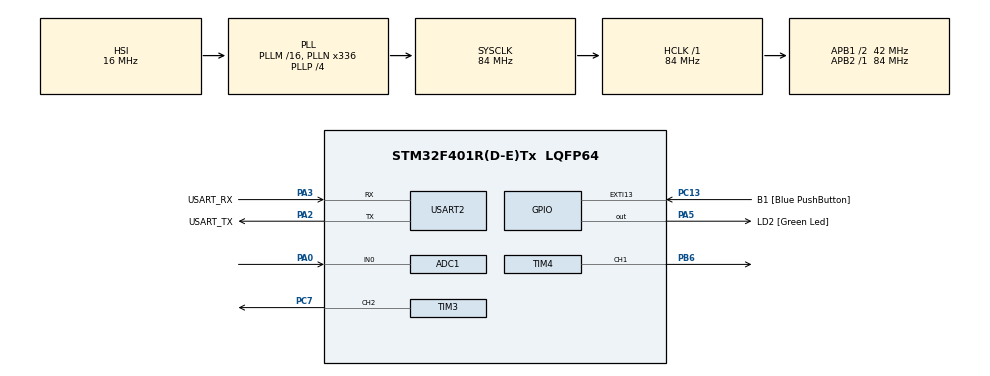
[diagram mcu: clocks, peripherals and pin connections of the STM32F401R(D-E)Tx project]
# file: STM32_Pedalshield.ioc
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ADC1.Channel-0\#ChannelRegularConversion=ADC_CHANNEL_0
ADC1.ExternalTrigConv=ADC_EXTERNALTRIGCONV_T3_TRGO
ADC1.NbrOfConversionFlag=1
ADC1.Rank-0\#ChannelRegularConversion=1
ADC1.SamplingTime-0\#ChannelRegularConversion=ADC_SAMPLETIME_15CYCLES
ADC1.master=1
Mcu.Family=STM32F4
Mcu.Name=STM32F401R(D-E)Tx
Mcu.Package=LQFP64
NVIC.ADC_IRQn=true\:0\:0\:false\:false\:true\:true\:true\:true
NVIC.PriorityGroup=NVIC_PRIORITYGROUP_4
PA0-WKUP.Signal=ADCx_IN0
PA13.GPIO_Label=TMS
PA13.Mode=Trace_Asynchronous_SW
PA13.Signal=SYS_JTMS-SWDIO
PA14.GPIO_Label=TCK
PA14.Mode=Trace_Asynchronous_SW
PA14.Signal=SYS_JTCK-SWCLK
PA2.GPIO_Label=USART_TX
PA2.GPIO_Mode=GPIO_MODE_AF_PP
PA2.GPIO_PuPd=GPIO_NOPULL
PA2.GPIO_Speed=GPIO_SPEED_FREQ_LOW
PA2.Mode=Asynchronous
PA2.Signal=USART2_TX
PA3.GPIO_Label=USART_RX
PA3.GPIO_Mode=GPIO_MODE_AF_PP
PA3.GPIO_PuPd=GPIO_NOPULL
PA3.GPIO_Speed=GPIO_SPEED_FREQ_LOW
PA3.Mode=Asynchronous
PA3.Signal=USART2_RX
PA5.GPIO_Label=LD2 [Green Led]
PA5.GPIO_Mode=GPIO_MODE_OUTPUT_PP
PA5.GPIO_PuPd=GPIO_NOPULL
PA5.GPIO_Speed=GPIO_SPEED_FREQ_LOW
PA5.Signal=GPIO_Output
PB3.GPIO_Label=SWO
PB3.Mode=Trace_Asynchronous_SW
PB3.Signal=SYS_JTDO-SWO
PB6.Signal=S_TIM4_CH1
PC13-ANTI_TAMP.GPIO_Label=B1 [Blue PushButton]
PC13-ANTI_TAMP.GPIO_ModeDefaultEXTI=GPIO_MODE_IT_FALLING
PC13-ANTI_TAMP.GPIO_PuPd=GPIO_NOPULL
PC13-ANTI_TAMP.Signal=GPXTI13
PC14-OSC32_IN.Mode=LSE-External-Oscillator
PC14-OSC32_IN.Signal=RCC_OSC32_IN
PC15-OSC32_OUT.Mode=LSE-External-Oscillator
PC15-OSC32_OUT.Signal=RCC_OSC32_OUT
PC7.Signal=S_TIM3_CH2
PH0\ -\ OSC_IN.Mode=HSE-External-Clock-Source
PH0\ -\ OSC_IN.Signal=RCC_OSC_IN
PH1\ -\ OSC_OUT.Mode=HSE-External-Clock-Source
PH1\ -\ OSC_OUT.Signal=RCC_OSC_OUT
ProjectManager.HeapSize=0x200
ProjectManager.StackSize=0x400
ProjectManager.TargetToolchain=STM32CubeIDE
RCC.48MHZClocksFreq_Value=48000000
RCC.AHBFreq_Value=84000000
RCC.APB1CLKDivider=RCC_HCLK_DIV2
RCC.APB1Freq_Value=42000000
RCC.APB1TimFreq_Value=84000000
RCC.APB2Freq_Value=84000000
RCC.APB2TimFreq_Value=84000000
RCC.CortexFreq_Value=84000000
RCC.HCLKFreq_Value=84000000
RCC.HSE_VALUE=8000000
RCC.HSI_VALUE=16000000
RCC.PLLN=336
RCC.PLLP=RCC_PLLP_DIV4
RCC.PLLQ=7
RCC.SYSCLKFreq_VALUE=84000000
RCC.SYSCLKSource=RCC_SYSCLKSOURCE_PLLCLK
RCC.VCOOutputFreq_Value=336000000
SH.ADCx_IN0.0=ADC1_IN0,IN0
SH.S_TIM3_CH2.0=TIM3_CH2,PWM Generation2 CH2
SH.S_TIM4_CH1.0=TIM4_CH1,PWM Generation1 CH1
TIM3.Channel-PWM\ Generation2\ CH2=TIM_CHANNEL_2
TIM3.Period=255
TIM3.Prescaler=9
TIM3.TIM_MasterOutputTrigger=TIM_TRGO_UPDATE
TIM3.TIM_MasterSlaveMode=TIM_MASTERSLAVEMODE_ENABLE
TIM4.Channel-PWM\ Generation1\ CH1=TIM_CHANNEL_1
TIM4.Period=255
TIM4.Prescaler=9
TIM4.TIM_MasterSlaveMode=TIM_MASTERSLAVEMODE_ENABLE
USART2.VirtualMode=VM_ASYNC
VP_TIM3_VS_ClockSourceINT.Mode=Internal
VP_TIM4_VS_ClockSourceITR.Mode=TriggerSource_ITR2
VP_TIM4_VS_ControllerModeTrigger.Mode=Trigger Mode
board=NUCLEO-F401RE

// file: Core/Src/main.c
/* USER CODE BEGIN Header */
/**
  ******************************************************************************
  * @file           : main.c
  * @brief          : Main program body
  ******************************************************************************
  * @attention
  *
  * Copyright (c) 2026 STMicroelectronics.
  * All rights reserved.
  *
  * This software is licensed under terms that can be found in the LICENSE file
  * in the root directory of this software component.
  * If no LICENSE file comes with this software, it is provided AS-IS.
  *
  ******************************************************************************
  */
/* USER CODE END Header */
#include "main.h"

/* USER CODE BEGIN Includes */
#include "circular_buffer.h"
#include "delay.h"
#include <stdio.h>

/* USER CODE END Includes */

ADC_HandleTypeDef hadc1;

TIM_HandleTypeDef htim3;
TIM_HandleTypeDef htim4;

UART_HandleTypeDef huart2;

void SystemClock_Config(void);
static void MX_GPIO_Init(void);
static void MX_ADC1_Init(void);
static void MX_TIM3_Init(void);
static void MX_TIM4_Init(void);
static void MX_USART2_UART_Init(void);

/* USER CODE BEGIN 0 */
#define ADC_MIDPOINT 3189u  // measured idle value for your hardware
struct DelayConfig delayConfig = {.Fs = 31000,.delay_samples = 0, .feedbackGain = 0.3f, .wetness = 0.5f, .midpoint = ADC_MIDPOINT};
volatile uint16_t adc_display_value = 0;
volatile uint8_t adc_ready = 0;

/* USER CODE END 0 */

int main(void)
{

  /* MCU Configuration--------------------------------------------------------*/

  /* Reset of all peripherals, Initializes the Flash interface and the Systick. */
  HAL_Init();

  /* Configure the system clock */
  SystemClock_Config();

  /* Initialize all configured peripherals */
  MX_GPIO_Init();
  MX_ADC1_Init();
  MX_TIM3_Init();
  MX_TIM4_Init();
  MX_USART2_UART_Init();
  /* USER CODE BEGIN 2 */
  HAL_TIM_PWM_Start(&htim4, TIM_CHANNEL_1);
  HAL_TIM_PWM_Start(&htim3, TIM_CHANNEL_2);
  HAL_ADC_Start_IT(&hadc1);

  // Effect related
  float delay_ms = 200.f;
  delayInit(&delayConfig, delay_ms);

  /* USER CODE END 2 */

  /* Infinite loop */
  while (1)
  {

    /* USER CODE BEGIN 3 */
	  HAL_GPIO_TogglePin(LD2_GPIO_Port, LD2_Pin);
	  HAL_Delay(500);

	  if (adc_ready)
	      {
	          adc_ready = 0;
	          char buf[32];
	          int len = snprintf(buf, sizeof(buf), "ADC: %u\r\n", adc_display_value);
	          HAL_UART_Transmit(&huart2, (uint8_t*)buf, len, HAL_MAX_DELAY);
	      }
  }
  /* USER CODE END 3 */
}

void SystemClock_Config(void)
{
  RCC_OscInitTypeDef RCC_OscInitStruct = {0};
  RCC_ClkInitTypeDef RCC_ClkInitStruct = {0};

  /** Configure the main internal regulator output voltage
  */
  __HAL_RCC_PWR_CLK_ENABLE();
  __HAL_PWR_VOLTAGESCALING_CONFIG(PWR_REGULATOR_VOLTAGE_SCALE2);

  /** Initializes the RCC Oscillators according to the specified parameters
  * in the RCC_OscInitTypeDef structure.
  */
  RCC_OscInitStruct.OscillatorType = RCC_OSCILLATORTYPE_HSI;
  RCC_OscInitStruct.HSIState = RCC_HSI_ON;
  RCC_OscInitStruct.HSICalibrationValue = RCC_HSICALIBRATION_DEFAULT;
  RCC_OscInitStruct.PLL.PLLState = RCC_PLL_ON;
  RCC_OscInitStruct.PLL.PLLSource = RCC_PLLSOURCE_HSI;
  RCC_OscInitStruct.PLL.PLLM = 16;
  RCC_OscInitStruct.PLL.PLLN = 336;
  RCC_OscInitStruct.PLL.PLLP = RCC_PLLP_DIV4;
  RCC_OscInitStruct.PLL.PLLQ = 7;
  if (HAL_RCC_OscConfig(&RCC_OscInitStruct) != HAL_OK)
  {
    Error_Handler();
  }

  /** Initializes the CPU, AHB and APB buses clocks
  */
  RCC_ClkInitStruct.ClockType = RCC_CLOCKTYPE_HCLK|RCC_CLOCKTYPE_SYSCLK
                              |RCC_CLOCKTYPE_PCLK1|RCC_CLOCKTYPE_PCLK2;
  RCC_ClkInitStruct.SYSCLKSource = RCC_SYSCLKSOURCE_PLLCLK;
  RCC_ClkInitStruct.AHBCLKDivider = RCC_SYSCLK_DIV1;
  RCC_ClkInitStruct.APB1CLKDivider = RCC_HCLK_DIV2;
  RCC_ClkInitStruct.APB2CLKDivider = RCC_HCLK_DIV1;

  if (HAL_RCC_ClockConfig(&RCC_ClkInitStruct, FLASH_LATENCY_2) != HAL_OK)
  {
    Error_Handler();
  }
}

static void MX_ADC1_Init(void)
{

  ADC_ChannelConfTypeDef sConfig = {0};

  /** Configure the global features of the ADC (Clock, Resolution, Data Alignment and number of conversion)
  */
  hadc1.Instance = ADC1;
  hadc1.Init.ClockPrescaler = ADC_CLOCK_SYNC_PCLK_DIV4;
  hadc1.Init.Resolution = ADC_RESOLUTION_12B;
  hadc1.Init.ScanConvMode = DISABLE;
  hadc1.Init.ContinuousConvMode = DISABLE;
  hadc1.Init.DiscontinuousConvMode = DISABLE;
  hadc1.Init.ExternalTrigConvEdge = ADC_EXTERNALTRIGCONVEDGE_RISING;
  hadc1.Init.ExternalTrigConv = ADC_EXTERNALTRIGCONV_T3_TRGO;
  hadc1.Init.DataAlign = ADC_DATAALIGN_RIGHT;
  hadc1.Init.NbrOfConversion = 1;
  hadc1.Init.DMAContinuousRequests = DISABLE;
  hadc1.Init.EOCSelection = ADC_EOC_SINGLE_CONV;
  if (HAL_ADC_Init(&hadc1) != HAL_OK)
  {
    Error_Handler();
  }

  /** Configure for the selected ADC regular channel its corresponding rank in the sequencer and its sample time.
  */
  sConfig.Channel = ADC_CHANNEL_0;
  sConfig.Rank = 1;
  sConfig.SamplingTime = ADC_SAMPLETIME_15CYCLES;
  if (HAL_ADC_ConfigChannel(&hadc1, &sConfig) != HAL_OK)
  {
    Error_Handler();
  }

}

static void MX_TIM3_Init(void)
{

  TIM_ClockConfigTypeDef sClockSourceConfig = {0};
  TIM_MasterConfigTypeDef sMasterConfig = {0};
  TIM_OC_InitTypeDef sConfigOC = {0};

  htim3.Instance = TIM3;
  htim3.Init.Prescaler = 9;
  htim3.Init.CounterMode = TIM_COUNTERMODE_UP;
  htim3.Init.Period = 255;
  htim3.Init.ClockDivision = TIM_CLOCKDIVISION_DIV1;
  htim3.Init.AutoReloadPreload = TIM_AUTORELOAD_PRELOAD_DISABLE;
  if (HAL_TIM_Base_Init(&htim3) != HAL_OK)
  {
    Error_Handler();
  }
  sClockSourceConfig.ClockSource = TIM_CLOCKSOURCE_INTERNAL;
  if (HAL_TIM_ConfigClockSource(&htim3, &sClockSourceConfig) != HAL_OK)
  {
    Error_Handler();
  }
  if (HAL_TIM_PWM_Init(&htim3) != HAL_OK)
  {
    Error_Handler();
  }
  sMasterConfig.MasterOutputTrigger = TIM_TRGO_UPDATE;
  sMasterConfig.MasterSlaveMode = TIM_MASTERSLAVEMODE_ENABLE;
  if (HAL_TIMEx_MasterConfigSynchronization(&htim3, &sMasterConfig) != HAL_OK)
  {
    Error_Handler();
  }
  sConfigOC.OCMode = TIM_OCMODE_PWM1;
  sConfigOC.Pulse = 0;
  sConfigOC.OCPolarity = TIM_OCPOLARITY_HIGH;
  sConfigOC.OCFastMode = TIM_OCFAST_DISABLE;
  if (HAL_TIM_PWM_ConfigChannel(&htim3, &sConfigOC, TIM_CHANNEL_2) != HAL_OK)
  {
    Error_Handler();
  }
  HAL_TIM_MspPostInit(&htim3);

}

static void MX_TIM4_Init(void)
{

  TIM_SlaveConfigTypeDef sSlaveConfig = {0};
  TIM_MasterConfigTypeDef sMasterConfig = {0};
  TIM_OC_InitTypeDef sConfigOC = {0};

  htim4.Instance = TIM4;
  htim4.Init.Prescaler = 9;
  htim4.Init.CounterMode = TIM_COUNTERMODE_UP;
  htim4.Init.Period = 255;
  htim4.Init.ClockDivision = TIM_CLOCKDIVISION_DIV1;
  htim4.Init.AutoReloadPreload = TIM_AUTORELOAD_PRELOAD_DISABLE;
  if (HAL_TIM_Base_Init(&htim4) != HAL_OK)
  {
    Error_Handler();
  }
  if (HAL_TIM_PWM_Init(&htim4) != HAL_OK)
  {
    Error_Handler();
  }
  sSlaveConfig.SlaveMode = TIM_SLAVEMODE_TRIGGER;
  sSlaveConfig.InputTrigger = TIM_TS_ITR2;
  if (HAL_TIM_SlaveConfigSynchro(&htim4, &sSlaveConfig) != HAL_OK)
  {
    Error_Handler();
  }
  sMasterConfig.MasterOutputTrigger = TIM_TRGO_RESET;
  sMasterConfig.MasterSlaveMode = TIM_MASTERSLAVEMODE_ENABLE;
  if (HAL_TIMEx_MasterConfigSynchronization(&htim4, &sMasterConfig) != HAL_OK)
  {
    Error_Handler();
  }
  sConfigOC.OCMode = TIM_OCMODE_PWM1;
  sConfigOC.Pulse = 0;
  sConfigOC.OCPolarity = TIM_OCPOLARITY_HIGH;
  sConfigOC.OCFastMode = TIM_OCFAST_DISABLE;
  if (HAL_TIM_PWM_ConfigChannel(&htim4, &sConfigOC, TIM_CHANNEL_1) != HAL_OK)
  {
    Error_Handler();
  }
  HAL_TIM_MspPostInit(&htim4);

}

static void MX_USART2_UART_Init(void)
{

  huart2.Instance = USART2;
  huart2.Init.BaudRate = 115200;
  huart2.Init.WordLength = UART_WORDLENGTH_8B;
  huart2.Init.StopBits = UART_STOPBITS_1;
  huart2.Init.Parity = UART_PARITY_NONE;
  huart2.Init.Mode = UART_MODE_TX_RX;
  huart2.Init.HwFlowCtl = UART_HWCONTROL_NONE;
  huart2.Init.OverSampling = UART_OVERSAMPLING_16;
  if (HAL_UART_Init(&huart2) != HAL_OK)
  {
    Error_Handler();
  }

}

static void MX_GPIO_Init(void)
{
  GPIO_InitTypeDef GPIO_InitStruct = {0};

  /* GPIO Ports Clock Enable */
  __HAL_RCC_GPIOC_CLK_ENABLE();
  __HAL_RCC_GPIOH_CLK_ENABLE();
  __HAL_RCC_GPIOA_CLK_ENABLE();
  __HAL_RCC_GPIOB_CLK_ENABLE();

  /*Configure GPIO pin Output Level */
  HAL_GPIO_WritePin(LD2_GPIO_Port, LD2_Pin, GPIO_PIN_RESET);

  /*Configure GPIO pin : B1_Pin */
  GPIO_InitStruct.Pin = B1_Pin;
  GPIO_InitStruct.Mode = GPIO_MODE_IT_FALLING;
  GPIO_InitStruct.Pull = GPIO_NOPULL;
  HAL_GPIO_Init(B1_GPIO_Port, &GPIO_InitStruct);

  /*Configure GPIO pin : LD2_Pin */
  GPIO_InitStruct.Pin = LD2_Pin;
  GPIO_InitStruct.Mode = GPIO_MODE_OUTPUT_PP;
  GPIO_InitStruct.Pull = GPIO_NOPULL;
  GPIO_InitStruct.Speed = GPIO_SPEED_FREQ_LOW;
  HAL_GPIO_Init(LD2_GPIO_Port, &GPIO_InitStruct);

}

/* USER CODE BEGIN 4 */
#define BUFFER_SIZE 31000

uint16_t buffer[BUFFER_SIZE];

volatile uint16_t feedback = 0;

struct circ_bbuf_t circularBuffer = {buffer, 0, 0, BUFFER_SIZE};

volatile uint32_t n = 0;

// Digital delay with feedback
void HAL_ADC_ConvCpltCallback(ADC_HandleTypeDef *hadc)
{
    if (hadc->Instance == ADC1)
    {

        uint16_t adc12 = HAL_ADC_GetValue(hadc);

        // ---- Debugging stuff ---- //

        n++;

		if (n >= 31343)   // roughly once per second
		{
			n = 0;
			adc_display_value = adc12;
			adc_ready = 1;

		}

		// ---- --------------- ---- //

		// Pass the signal though the effect
        uint16_t mixed = delayProcessor(&circularBuffer, adc12, &feedback, &delayConfig);

        uint16_t output16 = mixed << 4;

        TIM3->CCR2 = ((uint32_t)((output16 >> 8) & 0xFF) * TIM3->ARR) / 255;
        TIM4->CCR1 = ((uint32_t)(output16 & 0xFF) * TIM4->ARR) / 255;

    }
}
/* USER CODE END 4 */

void Error_Handler(void)
{
  __disable_irq();
  while (1)
  {
  }
}
